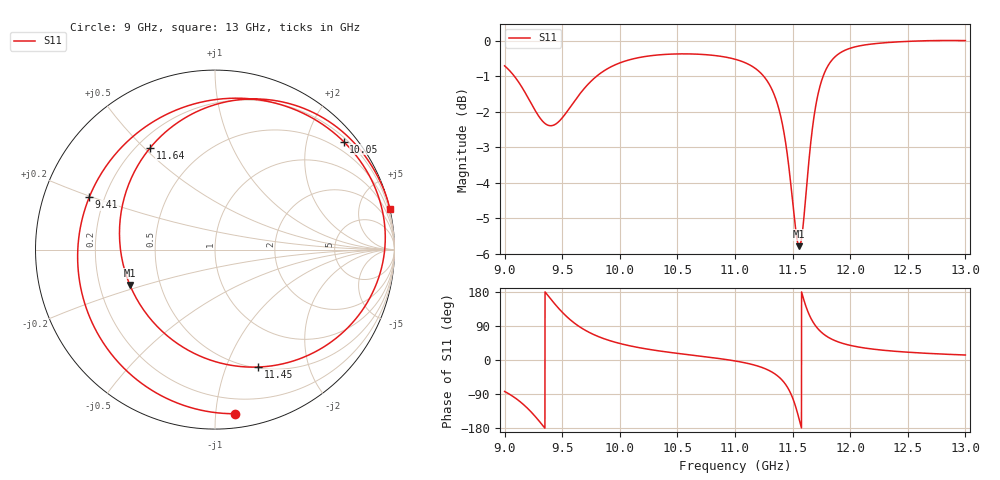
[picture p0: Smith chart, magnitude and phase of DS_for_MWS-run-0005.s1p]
! TOUCHSTONE file generated by CST DESIGN STUDIO
! Date and time: Tue Feb  4 16:42:37 2025
! Project name: C:\Work\MatlabApps\UnitCellOptimizationMatlab\CST\unitcell.cst
! Tree item: Tasks\Sweep1\SPara1\S-Parameters
! Header version: 2024
! Port assignment regex: !\s*Touchstone port\s*([0-9]+)\s*=\s*(CST MWS port|CST DES external port|CST DES block port)\s*(.+)\s* \(\"(.*)\"\)(\s*mode\s*([0-9]+))?.*
! Touchstone port assignment:
! Touchstone port 1 = CST DES external port 1 ("")
# GHz S MA R 50
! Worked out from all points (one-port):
!   4001 points, 9 GHz to 13 GHz, reference 50 ohm
!   lowest |S11| = -5.8 dB at 11.56 GHz (marker M1), VSWR 3.11, Z = 16.6 - j8.92 ohm
!   |S11| at or under -10 dB: nowhere
!   S11 on the Smith chart (normalised r, x): 9 GHz: 0.09, -1.13; 9.41 GHz: 0.14, +0.20; 10.05 GHz: 0.28, +2.72; 11.45 GHz: 0.51, -1.30; 11.64 GHz: 0.25, +0.52; 13 GHz: 0.01, +8.67
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9  0.9213 -83.0
9.105  0.8818 -103.1
9.193  0.8366 -125.7
9.308  0.7777 -164.1
9.41  0.759 157.3
9.5  0.7783 126.2
9.582  0.8112 103.1
9.678  0.851 82.4
9.827  0.8981 60.2
10  0.93 43.6
10.049  0.9359 40.0
10.5  0.9575 17.5
11  0.9412 -2.5
11.177  0.9134 -14.1
11.295  0.8691 -27.6
11.381  0.8009 -44.8
11.451  0.697 -69.9
11.5  0.5936 -100.0
11.528  0.5391 -124.7
11.558  0.5137 -157.4
11.597  0.561 159.2
11.64  0.673 122.3
11.703  0.8129 88.7
11.796  0.9145 62.5
11.884  0.9534 49.1
12  0.9753 38.6
12.5  0.9972 20.6
13  0.9997 13.2
